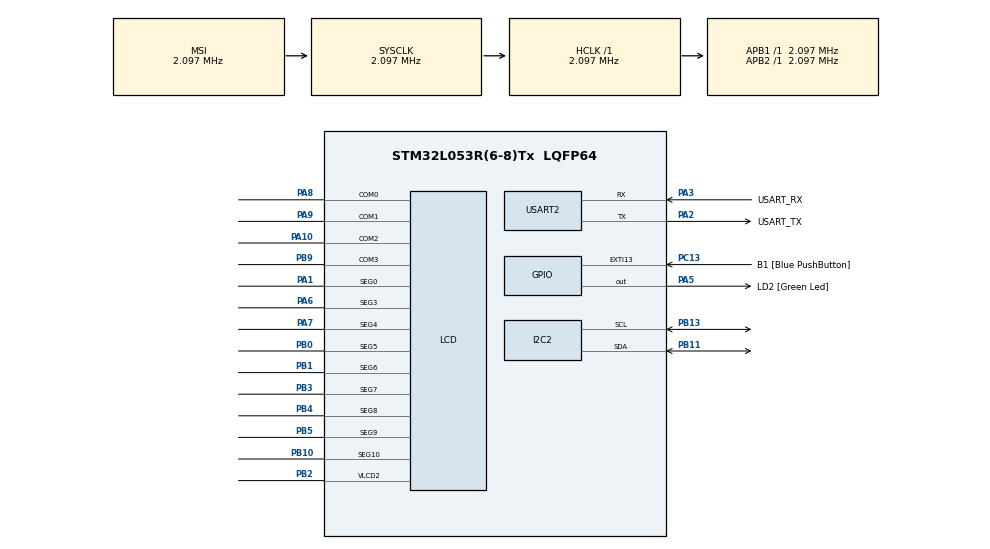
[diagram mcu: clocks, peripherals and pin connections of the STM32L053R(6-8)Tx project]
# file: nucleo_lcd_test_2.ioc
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I2C2.Timing=0x00000608
Mcu.Family=STM32L0
Mcu.Name=STM32L053R(6-8)Tx
Mcu.Package=LQFP64
NVIC.LCD_IRQn=true\:0\:0\:false\:false\:true\:true\:false\:true
NVIC.RTC_IRQn=true\:0\:0\:false\:false\:true\:true\:true\:true
PA1.Mode=SEG0
PA1.Signal=LCD_SEG0
PA10.Mode=1/4 Duty Cycle
PA10.Signal=LCD_COM2
PA13.GPIO_Label=TMS
PA13.Mode=Serial_Wire
PA13.Signal=SYS_SWDIO
PA14.GPIO_Label=TCK
PA14.Mode=Serial_Wire
PA14.Signal=SYS_SWCLK
PA2.GPIO_Label=USART_TX
PA2.Mode=Asynchronous
PA2.Signal=USART2_TX
PA3.GPIO_Label=USART_RX
PA3.Mode=Asynchronous
PA3.Signal=USART2_RX
PA5.GPIO_Label=LD2 [Green Led]
PA5.Signal=GPIO_Output
PA6.Mode=SEG3
PA6.Signal=LCD_SEG3
PA7.Mode=SEG4
PA7.Signal=LCD_SEG4
PA8.Mode=1/4 Duty Cycle
PA8.Signal=LCD_COM0
PA9.Mode=1/4 Duty Cycle
PA9.Signal=LCD_COM1
PB0.Mode=SEG5
PB0.Signal=LCD_SEG5
PB1.Mode=SEG6
PB1.Signal=LCD_SEG6
PB10.Mode=SEG10
PB10.Signal=LCD_SEG10
PB11.Mode=I2C
PB11.Signal=I2C2_SDA
PB13.GPIO_Pu=GPIO_NOPULL
PB13.Mode=I2C
PB13.Signal=I2C2_SCL
PB2.Mode=VLCD2
PB2.Signal=LCD_VLCD2
PB3.Mode=SEG7
PB3.Signal=LCD_SEG7
PB4.Mode=SEG8
PB4.Signal=LCD_SEG8
PB5.Mode=SEG9
PB5.Signal=LCD_SEG9
PB9.Mode=1/4 Duty Cycle
PB9.Signal=LCD_COM3
PC13.GPIO_Label=B1 [Blue PushButton]
PC13.GPIO_ModeDefaultEXTI=GPIO_MODE_IT_FALLING
PC13.Signal=GPXTI13
PC14-OSC32_IN.Mode=LSE-External-Oscillator
PC14-OSC32_IN.Signal=RCC_OSC32_IN
PC15-OSC32_OUT.Mode=LSE-External-Oscillator
PC15-OSC32_OUT.Signal=RCC_OSC32_OUT
PH0-OSC_IN.Mode=HSE-External-Clock-Source
PH0-OSC_IN.Signal=RCC_OSC_IN
PH1-OSC_OUT.Signal=RCC_OSC_OUT
ProjectManager.HeapSize=0x200
ProjectManager.StackSize=0x400
ProjectManager.TargetToolchain=Makefile
RCC.AHBFreq_Value=2097000
RCC.APB1Freq_Value=2097000
RCC.APB1TimFreq_Value=2097000
RCC.APB2Freq_Value=2097000
RCC.APB2TimFreq_Value=2097000
RCC.HCLKFreq_Value=2097000
RCC.HSE_VALUE=8000000
RCC.HSI16_VALUE=16000000
RCC.HSI48_VALUE=48000000
RCC.HSI_VALUE=16000000
RCC.MSI_VALUE=2097000
RCC.SYSCLKFreq_VALUE=2097000
RCC.VCOOutputFreq_Value=48000000
USART2.VirtualMode-Asynchronous=VM_ASYNC
VP_LCD_LCD_Bias.Mode=1/2 Bias
VP_RTC_VS_RTC_Activate.Mode=RTC_Enabled
VP_RTC_VS_RTC_WakeUp_intern.Mode=WakeUp
board=NUCLEO-L053R8

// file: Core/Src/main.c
/* USER CODE BEGIN Header */
/**
  ******************************************************************************
  * @file           : main.c
  * @brief          : Main program body
  ******************************************************************************
  * @attention
  *
  * Copyright (c) 2026 STMicroelectronics.
  * All rights reserved.
  *
  * This software is licensed under terms that can be found in the LICENSE file
  * in the root directory of this software component.
  * If no LICENSE file comes with this software, it is provided AS-IS.
  *
  ******************************************************************************
  */
/* USER CODE END Header */
#include "main.h"

/* USER CODE BEGIN Includes */
#include <stdarg.h>
#include <stdio.h>
#include <string.h>

/* USER CODE END Includes */

/* USER CODE BEGIN PD */
#define DEMO_WAKE_SECONDS 2U
#define SHT40_I2C_ADDR         (0x44U << 1)
#define SHT40_CMD_MEASURE_HIGH 0xFDU

/* USER CODE END PD */

I2C_HandleTypeDef hi2c2;

LCD_HandleTypeDef hlcd;

RTC_HandleTypeDef hrtc;

UART_HandleTypeDef huart2;

/* USER CODE BEGIN PV */
volatile uint8_t g_rtc_wakeup = 0U;
volatile uint8_t g_use_lse = 0U;
/* USER CODE END PV */

void SystemClock_Config(void);
static void MX_GPIO_Init(void);
static void MX_LCD_Init(void);
static void MX_USART2_UART_Init(void);
static void MX_RTC_Init(void);
static void MX_I2C2_Init(void);
/* USER CODE BEGIN PFP */
static void LCD_DisplayNumber3(uint16_t value);
static uint16_t MockHumidityX10(void);
static void DebugPrint(const char *text);
static void DebugPrintf(const char *fmt, ...);
static void I2C2_ScanBus(void);
static uint8_t SHT40_Crc8(const uint8_t *data, uint8_t len);
static HAL_StatusTypeDef SHT40_ReadRaw(uint16_t *temperature_ticks, uint16_t *humidity_ticks);
static void SHT40_TestLoop(void);

/* USER CODE END PFP */

/* USER CODE BEGIN 0 */
static void DebugPrint(const char *text)
{
  HAL_UART_Transmit(&huart2, (uint8_t *)text, (uint16_t)strlen(text), HAL_MAX_DELAY);
}

static void DebugPrintf(const char *fmt, ...)
{
  char buffer[128];
  int len;
  va_list args;

  va_start(args, fmt);
  len = vsnprintf(buffer, sizeof(buffer), fmt, args);
  va_end(args);

  if (len <= 0)
  {
    return;
  }

  if ((size_t)len > sizeof(buffer))
  {
    len = (int)sizeof(buffer);
  }

  HAL_UART_Transmit(&huart2, (uint8_t *)buffer, (uint16_t)len, HAL_MAX_DELAY);
}

static void I2C2_ScanBus(void)
{
  uint8_t addr;
  uint8_t found = 0U;

  DebugPrint("Scanning I2C2 addresses 0x08..0x77\r\n");

  for (addr = 0x08U; addr <= 0x77U; addr++)
  {
    if (HAL_I2C_IsDeviceReady(&hi2c2, (uint16_t)(addr << 1), 2U, 20U) == HAL_OK)
    {
      DebugPrintf("I2C device found at 0x%02X\r\n", addr);
      found = 1U;
    }
  }

  if (found == 0U)
  {
    DebugPrint("No I2C devices found\r\n");
  }
}

static uint8_t SHT40_Crc8(const uint8_t *data, uint8_t len)
{
  uint8_t crc = 0xFFU;
  uint8_t i;
  uint8_t bit;

  for (i = 0U; i < len; i++)
  {
    crc ^= data[i];
    for (bit = 0U; bit < 8U; bit++)
    {
      if ((crc & 0x80U) != 0U)
      {
        crc = (uint8_t)((crc << 1) ^ 0x31U);
      }
      else
      {
        crc <<= 1;
      }
    }
  }

  return crc;
}

static HAL_StatusTypeDef SHT40_ReadRaw(uint16_t *temperature_ticks, uint16_t *humidity_ticks)
{
  uint8_t cmd = SHT40_CMD_MEASURE_HIGH;
  uint8_t rx[6];

  if (HAL_I2C_Master_Transmit(&hi2c2, SHT40_I2C_ADDR, &cmd, 1U, 100U) != HAL_OK)
  {
    return HAL_ERROR;
  }

  HAL_Delay(10U);

  if (HAL_I2C_Master_Receive(&hi2c2, SHT40_I2C_ADDR, rx, sizeof(rx), 100U) != HAL_OK)
  {
    return HAL_ERROR;
  }

  if (SHT40_Crc8(&rx[0], 2U) != rx[2] || SHT40_Crc8(&rx[3], 2U) != rx[5])
  {
    return HAL_ERROR;
  }

  *temperature_ticks = (uint16_t)(((uint16_t)rx[0] << 8) | rx[1]);
  *humidity_ticks = (uint16_t)(((uint16_t)rx[3] << 8) | rx[4]);

  return HAL_OK;
}

static void SHT40_TestLoop(void)
{
  uint16_t temperature_ticks;
  uint16_t humidity_ticks;
  float temperature_c;
  float humidity_rh;

  if (HAL_I2C_IsDeviceReady(&hi2c2, SHT40_I2C_ADDR, 3U, 100U) != HAL_OK)
  {
    DebugPrint("SHT40 not responding at 0x44\r\n");
    HAL_Delay(1000U);
    return;
  }

  if (SHT40_ReadRaw(&temperature_ticks, &humidity_ticks) != HAL_OK)
  {
    DebugPrint("SHT40 read failed\r\n");
    HAL_Delay(1000U);
    return;
  }

  temperature_c = -45.0f + (175.0f * (float)temperature_ticks / 65535.0f);
  humidity_rh = -6.0f + (125.0f * (float)humidity_ticks / 65535.0f);

  if (humidity_rh < 0.0f)
  {
    humidity_rh = 0.0f;
  }
  else if (humidity_rh > 100.0f)
  {
    humidity_rh = 100.0f;
  }

  DebugPrintf("SHT40 OK  T=%.2f C  RH=%.2f %%\r\n", temperature_c, humidity_rh);
  HAL_Delay(1000U);
}

static uint32_t LCD_ComposeSegBit(uint8_t seg_index)
{
  /* These are the 6 SEG lines currently wired to the glass. */
  static const uint8_t seg_bits[6] = {0U, 5U, 7U, 8U, 9U, 10U};
  return (1UL << seg_bits[seg_index]);
}

static uint16_t MockHumidityX10(void)
{
  static uint32_t lcg = 0x1A2B3C4DU;
  lcg = (lcg * 1664525UL) + 1013904223UL;
  return (uint16_t)(lcg % 1000UL); /* 0.0 .. 99.9 %RH */
}

static void LCD_DisplayNumber3(uint16_t value)
{
  /* 7-segment font: bits = a b c d e f g in bit positions 0..6. */
  static const uint8_t font7[10] =
  {
    0x3FU, /* 0 */
    0x06U, /* 1 */
    0x5BU, /* 2 */
    0x4FU, /* 3 */
    0x66U, /* 4 */
    0x6DU, /* 5 */
    0x7DU, /* 6 */
    0x07U, /* 7 */
    0x7FU, /* 8 */
    0x6FU  /* 9 */
  };
  uint8_t d_right = (uint8_t)(value % 10U);
  uint8_t d_mid = (uint8_t)((value / 10U) % 10U);
  uint8_t d_left = (uint8_t)((value / 100U) % 10U);
  /* Physical digit order on glass is mirrored versus SEG pair order. */
  uint8_t digits[3] = {d_left, d_mid, d_right};
  uint8_t pos;
  uint32_t com_data[4] = {0U, 0U, 0U, 0U};
  uint32_t seg_mask = LCD_ComposeSegBit(0) | LCD_ComposeSegBit(1) |
                      LCD_ComposeSegBit(2) | LCD_ComposeSegBit(3) |
                      LCD_ComposeSegBit(4) | LCD_ComposeSegBit(5);

  /* Per your measured wiring, each digit has 2 SEG lines:
   * line_abc drives {a,b,c} = {top, top-right, bottom-right}
   * line_defg drives {d,e,f,g} = {bottom, bottom-left, top-left, middle}
   *
   * Exact pin map provided:
   * LCD pin1 -> A1  -> SEG0  -> digit3 abc (left)
   * LCD pin2 -> A3  -> SEG5  -> digit3 defg (left)
   * LCD pin3 -> D3  -> SEG7  -> digit2 abc (middle)
   * LCD pin4 -> D5  -> SEG8  -> digit2 defg (middle)
   * LCD pin5 -> D4  -> SEG9  -> digit1 abc (right)
   * LCD pin6 -> D6  -> SEG10 -> digit1 defg (right)
   *
   * Therefore (right,middle,left):
   * abc lines  = SEG9, SEG7, SEG0
   * defg lines = SEG10, SEG8, SEG5
   *
   * COM mapping from your notes:
   * COM0=d
   * COM1=c/e
   * COM2=b/g
   * COM3=a/f
   */
  {
    uint8_t abc_seg_idx[3] = {4U, 2U, 0U};
    uint8_t defg_seg_idx[3] = {5U, 3U, 1U};

  for (pos = 0U; pos < 3U; pos++)
  {
    uint8_t p = font7[digits[pos]];
    uint32_t line_abc = LCD_ComposeSegBit(abc_seg_idx[pos]);
    uint32_t line_defg = LCD_ComposeSegBit(defg_seg_idx[pos]);

    if ((p & (1U << 3)) != 0U) com_data[0] |= line_defg; /* d -> COM0 via defg line */
    if ((p & (1U << 2)) != 0U) com_data[1] |= line_abc;  /* c -> COM1 via abc line */
    if ((p & (1U << 4)) != 0U) com_data[1] |= line_defg; /* e -> COM1 via defg line */
    if ((p & (1U << 1)) != 0U) com_data[2] |= line_abc;  /* b -> COM2 via abc line */
    if ((p & (1U << 6)) != 0U) com_data[2] |= line_defg; /* g -> COM2 via defg line */
    if ((p & (1U << 0)) != 0U) com_data[3] |= line_abc;  /* a -> COM3 via abc line */
    if ((p & (1U << 5)) != 0U) com_data[3] |= line_defg; /* f -> COM3 via defg line */
  }
  }

  if (HAL_LCD_Clear(&hlcd) != HAL_OK) Error_Handler();
  if (HAL_LCD_Write(&hlcd, LCD_RAM_REGISTER0, seg_mask, com_data[0]) != HAL_OK) Error_Handler();
  if (HAL_LCD_Write(&hlcd, LCD_RAM_REGISTER2, seg_mask, com_data[1]) != HAL_OK) Error_Handler();
  if (HAL_LCD_Write(&hlcd, LCD_RAM_REGISTER4, seg_mask, com_data[2]) != HAL_OK) Error_Handler();
  if (HAL_LCD_Write(&hlcd, LCD_RAM_REGISTER6, seg_mask, com_data[3]) != HAL_OK) Error_Handler();
  if (HAL_LCD_UpdateDisplayRequest(&hlcd) != HAL_OK) Error_Handler();
}

void HAL_RTCEx_WakeUpTimerEventCallback(RTC_HandleTypeDef *hrtc_cb)
{
  (void)hrtc_cb;
  g_rtc_wakeup = 1U;
}

/* USER CODE END 0 */

int main(void)
{

  /* MCU Configuration--------------------------------------------------------*/

  /* Reset of all peripherals, Initializes the Flash interface and the Systick. */
  HAL_Init();

  /* Configure the system clock */
  SystemClock_Config();

  /* Initialize all configured peripherals */
  MX_GPIO_Init();
  MX_USART2_UART_Init();
  MX_RTC_Init();
  MX_I2C2_Init();
  /* USER CODE BEGIN 2 */
  DebugPrint("\r\nBooting SHT40 test\r\n");
  DebugPrint("LCD init disabled for this test build\r\n");
  I2C2_ScanBus();

  /* USER CODE END 2 */

  /* Infinite loop */
  /* USER CODE BEGIN WHILE */
  while (1)
  {
    SHT40_TestLoop();
    /* USER CODE END WHILE */

  }
}

void SystemClock_Config(void)
{
  RCC_OscInitTypeDef RCC_OscInitStruct = {0};
  RCC_ClkInitTypeDef RCC_ClkInitStruct = {0};
  RCC_PeriphCLKInitTypeDef PeriphClkInit = {0};

  /** Configure the main internal regulator output voltage
  */
  __HAL_PWR_VOLTAGESCALING_CONFIG(PWR_REGULATOR_VOLTAGE_SCALE1);

  /** Initializes the RCC Oscillators according to the specified parameters
  * in the RCC_OscInitTypeDef structure.
  */
  RCC_OscInitStruct.OscillatorType = RCC_OSCILLATORTYPE_LSI|RCC_OSCILLATORTYPE_MSI;
  RCC_OscInitStruct.LSIState = RCC_LSI_ON;
  RCC_OscInitStruct.MSIState = RCC_MSI_ON;
  RCC_OscInitStruct.MSICalibrationValue = 0;
  RCC_OscInitStruct.MSIClockRange = RCC_MSIRANGE_5;
  RCC_OscInitStruct.PLL.PLLState = RCC_PLL_NONE;
  if (HAL_RCC_OscConfig(&RCC_OscInitStruct) != HAL_OK)
  {
    Error_Handler();
  }

  /** Initializes the CPU, AHB and APB buses clocks
  */
  RCC_ClkInitStruct.ClockType = RCC_CLOCKTYPE_HCLK|RCC_CLOCKTYPE_SYSCLK
                              |RCC_CLOCKTYPE_PCLK1|RCC_CLOCKTYPE_PCLK2;
  RCC_ClkInitStruct.SYSCLKSource = RCC_SYSCLKSOURCE_MSI;
  RCC_ClkInitStruct.AHBCLKDivider = RCC_SYSCLK_DIV1;
  RCC_ClkInitStruct.APB1CLKDivider = RCC_HCLK_DIV1;
  RCC_ClkInitStruct.APB2CLKDivider = RCC_HCLK_DIV1;

  if (HAL_RCC_ClockConfig(&RCC_ClkInitStruct, FLASH_LATENCY_0) != HAL_OK)
  {
    Error_Handler();
  }
  PeriphClkInit.PeriphClockSelection = RCC_PERIPHCLK_USART2|RCC_PERIPHCLK_RTC;
  PeriphClkInit.Usart2ClockSelection = RCC_USART2CLKSOURCE_PCLK1;
  PeriphClkInit.RTCClockSelection = RCC_RTCCLKSOURCE_LSI;
  if (HAL_RCCEx_PeriphCLKConfig(&PeriphClkInit) != HAL_OK)
  {
    Error_Handler();
  }
}

static void MX_I2C2_Init(void)
{

  hi2c2.Instance = I2C2;
  hi2c2.Init.Timing = 0x00000608;
  hi2c2.Init.OwnAddress1 = 0;
  hi2c2.Init.AddressingMode = I2C_ADDRESSINGMODE_7BIT;
  hi2c2.Init.DualAddressMode = I2C_DUALADDRESS_DISABLE;
  hi2c2.Init.OwnAddress2 = 0;
  hi2c2.Init.OwnAddress2Masks = I2C_OA2_NOMASK;
  hi2c2.Init.GeneralCallMode = I2C_GENERALCALL_DISABLE;
  hi2c2.Init.NoStretchMode = I2C_NOSTRETCH_DISABLE;
  if (HAL_I2C_Init(&hi2c2) != HAL_OK)
  {
    Error_Handler();
  }

  /** Configure Analogue filter
  */
  if (HAL_I2CEx_ConfigAnalogFilter(&hi2c2, I2C_ANALOGFILTER_ENABLE) != HAL_OK)
  {
    Error_Handler();
  }

  /** Configure Digital filter
  */
  if (HAL_I2CEx_ConfigDigitalFilter(&hi2c2, 0) != HAL_OK)
  {
    Error_Handler();
  }

}

static void MX_LCD_Init(void)
{

  /* USER CODE BEGIN LCD_Init 1 */
  /* For NUCLEO default SB45(VBAT/VLCD)=ON path, use external VLCD source. */
  __HAL_RCC_SYSCFG_CLK_ENABLE();
  __HAL_SYSCFG_VLCD_CAPA_CONFIG(SYSCFG_VLCD_PB2_EXT_CAPA_ON);

  /* USER CODE END LCD_Init 1 */
  hlcd.Instance = LCD;
  hlcd.Init.Prescaler = LCD_PRESCALER_1;
  hlcd.Init.Divider = LCD_DIVIDER_16;
  hlcd.Init.Duty = LCD_DUTY_1_4;
  hlcd.Init.Bias = LCD_BIAS_1_2;
  hlcd.Init.VoltageSource = LCD_VOLTAGESOURCE_INTERNAL;
  hlcd.Init.Contrast = LCD_CONTRASTLEVEL_0;
  hlcd.Init.DeadTime = LCD_DEADTIME_0;
  hlcd.Init.PulseOnDuration = LCD_PULSEONDURATION_0;
  hlcd.Init.HighDrive = LCD_HIGHDRIVE_0;
  hlcd.Init.BlinkMode = LCD_BLINKMODE_OFF;
  hlcd.Init.BlinkFrequency = LCD_BLINKFREQUENCY_DIV8;
  hlcd.Init.MuxSegment = LCD_MUXSEGMENT_DISABLE;
  if (HAL_LCD_Init(&hlcd) != HAL_OK)
  {
    Error_Handler();
  }

}

static void MX_RTC_Init(void)
{

  /** Initialize RTC Only
  */
  hrtc.Instance = RTC;
  hrtc.Init.HourFormat = RTC_HOURFORMAT_24;
  hrtc.Init.AsynchPrediv = 127;
  hrtc.Init.SynchPrediv = 255;
  hrtc.Init.OutPut = RTC_OUTPUT_DISABLE;
  hrtc.Init.OutPutRemap = RTC_OUTPUT_REMAP_NONE;
  hrtc.Init.OutPutPolarity = RTC_OUTPUT_POLARITY_HIGH;
  hrtc.Init.OutPutType = RTC_OUTPUT_TYPE_OPENDRAIN;
  if (HAL_RTC_Init(&hrtc) != HAL_OK)
  {
    Error_Handler();
  }

  /** Enable the WakeUp
  */
  if (HAL_RTCEx_SetWakeUpTimer_IT(&hrtc, 0, RTC_WAKEUPCLOCK_RTCCLK_DIV16) != HAL_OK)
  {
    Error_Handler();
  }

}

static void MX_USART2_UART_Init(void)
{

  huart2.Instance = USART2;
  huart2.Init.BaudRate = 115200;
  huart2.Init.WordLength = UART_WORDLENGTH_8B;
  huart2.Init.StopBits = UART_STOPBITS_1;
  huart2.Init.Parity = UART_PARITY_NONE;
  huart2.Init.Mode = UART_MODE_TX_RX;
  huart2.Init.HwFlowCtl = UART_HWCONTROL_NONE;
  huart2.Init.OverSampling = UART_OVERSAMPLING_16;
  huart2.Init.OneBitSampling = UART_ONE_BIT_SAMPLE_DISABLE;
  huart2.AdvancedInit.AdvFeatureInit = UART_ADVFEATURE_NO_INIT;
  if (HAL_UART_Init(&huart2) != HAL_OK)
  {
    Error_Handler();
  }

}

static void MX_GPIO_Init(void)
{
  GPIO_InitTypeDef GPIO_InitStruct = {0};

  /* GPIO Ports Clock Enable */
  __HAL_RCC_GPIOC_CLK_ENABLE();
  __HAL_RCC_GPIOH_CLK_ENABLE();
  __HAL_RCC_GPIOA_CLK_ENABLE();
  __HAL_RCC_GPIOB_CLK_ENABLE();

  /*Configure GPIO pin Output Level */
  HAL_GPIO_WritePin(LD2_GPIO_Port, LD2_Pin, GPIO_PIN_RESET);

  /*Configure GPIO pin : B1_Pin */
  GPIO_InitStruct.Pin = B1_Pin;
  GPIO_InitStruct.Mode = GPIO_MODE_IT_FALLING;
  GPIO_InitStruct.Pull = GPIO_NOPULL;
  HAL_GPIO_Init(B1_GPIO_Port, &GPIO_InitStruct);

  /*Configure GPIO pin : LD2_Pin */
  GPIO_InitStruct.Pin = LD2_Pin;
  GPIO_InitStruct.Mode = GPIO_MODE_OUTPUT_PP;
  GPIO_InitStruct.Pull = GPIO_NOPULL;
  GPIO_InitStruct.Speed = GPIO_SPEED_FREQ_LOW;
  HAL_GPIO_Init(LD2_GPIO_Port, &GPIO_InitStruct);

}

void Error_Handler(void)
{
  while (1)
  {
  }
}
